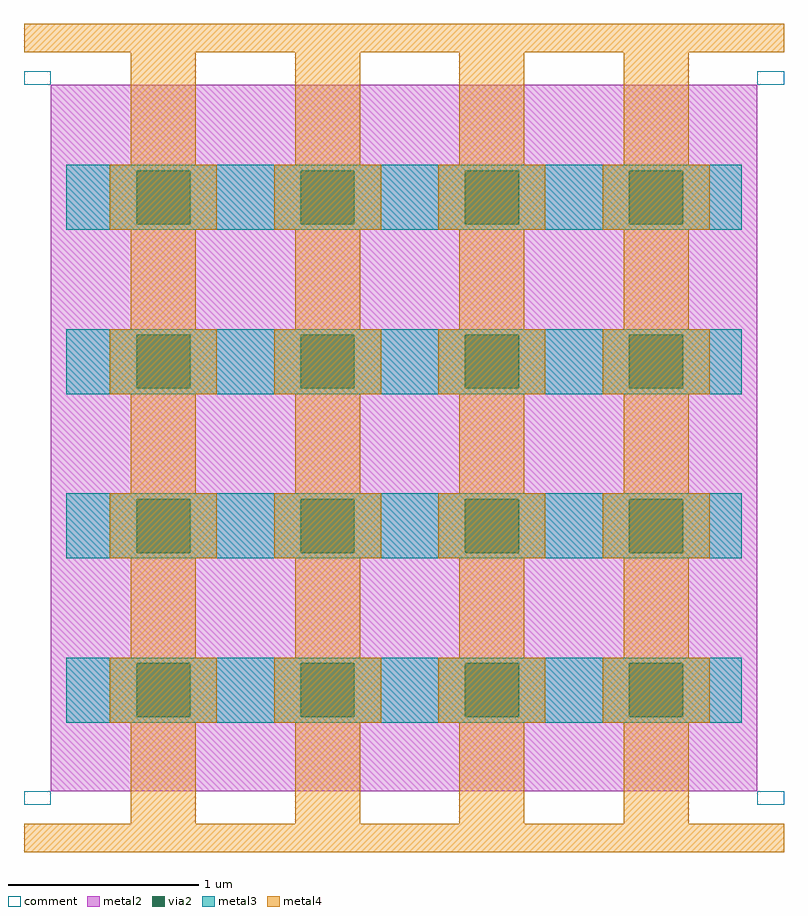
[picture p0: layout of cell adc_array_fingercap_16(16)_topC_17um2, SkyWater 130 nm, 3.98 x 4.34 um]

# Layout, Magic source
magic
tech sky130A
<< metal2 >>
rect 42 306 412 351
rect 42 278 87 306
rect 115 278 173 306
rect 201 278 259 306
rect 287 278 345 306
rect 373 278 412 306
rect 42 220 412 278
rect 42 192 87 220
rect 115 192 173 220
rect 201 192 259 220
rect 287 192 345 220
rect 373 192 412 220
rect 42 134 412 192
rect 42 106 87 134
rect 115 106 173 134
rect 201 106 259 134
rect 287 106 345 134
rect 373 106 412 134
rect 42 48 412 106
rect 42 20 87 48
rect 115 20 173 48
rect 201 20 259 48
rect 287 20 345 48
rect 373 20 412 48
rect 42 -19 412 20
<< via2 >>
rect 87 278 115 306
rect 173 278 201 306
rect 259 278 287 306
rect 345 278 373 306
rect 87 192 115 220
rect 173 192 201 220
rect 259 192 287 220
rect 345 192 373 220
rect 87 106 115 134
rect 173 106 201 134
rect 259 106 287 134
rect 345 106 373 134
rect 87 20 115 48
rect 173 20 201 48
rect 259 20 287 48
rect 345 20 373 48
<< metal3 >>
rect 50 306 404 309
rect 50 278 87 306
rect 115 278 173 306
rect 201 278 259 306
rect 287 278 345 306
rect 373 278 404 306
rect 50 275 404 278
rect 50 220 404 223
rect 50 192 87 220
rect 115 192 173 220
rect 201 192 259 220
rect 287 192 345 220
rect 373 192 404 220
rect 50 189 404 192
rect 50 134 404 137
rect 50 106 87 134
rect 115 106 173 134
rect 201 106 259 134
rect 287 106 345 134
rect 373 106 404 134
rect 50 103 404 106
rect 50 48 404 51
rect 50 20 87 48
rect 115 20 173 48
rect 201 20 259 48
rect 287 20 345 48
rect 373 20 404 48
rect 50 17 404 20
<< metal4 >>
rect 28 368 426 383
rect 84 309 118 368
rect 170 309 204 368
rect 256 309 290 368
rect 342 309 376 368
rect 73 275 129 309
rect 159 275 215 309
rect 245 275 301 309
rect 331 275 387 309
rect 84 223 118 275
rect 170 223 204 275
rect 256 223 290 275
rect 342 223 376 275
rect 73 189 129 223
rect 159 189 215 223
rect 245 189 301 223
rect 331 189 387 223
rect 84 137 118 189
rect 170 137 204 189
rect 256 137 290 189
rect 342 137 376 189
rect 73 103 129 137
rect 159 103 215 137
rect 245 103 301 137
rect 331 103 387 137
rect 84 51 118 103
rect 170 51 204 103
rect 256 51 290 103
rect 342 51 376 103
rect 73 17 129 51
rect 159 17 215 51
rect 245 17 301 51
rect 331 17 387 51
rect 84 -36 118 17
rect 170 -36 204 17
rect 256 -36 290 17
rect 342 -36 376 17
rect 28 -51 426 -36
<< comment >>
rect 28 351 42 358
rect 412 351 426 358
rect 28 -26 42 -19
rect 412 -26 426 -19
<< end >>
